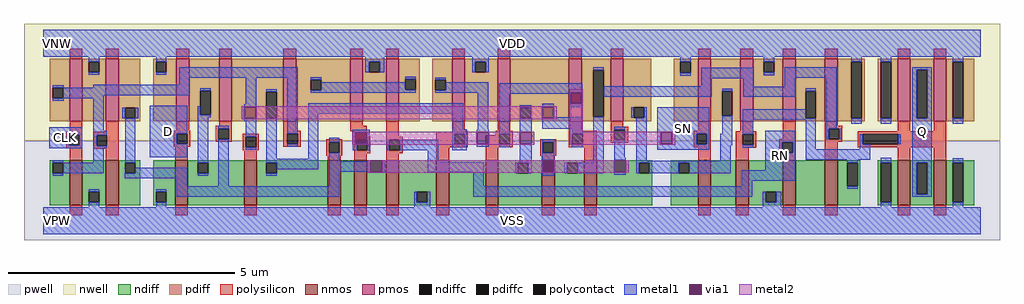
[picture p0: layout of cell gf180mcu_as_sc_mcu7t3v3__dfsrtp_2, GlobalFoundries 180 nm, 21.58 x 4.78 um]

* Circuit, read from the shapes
.subckt gf180mcu_as_sc_mcu7t3v3__dfsrtp_2 VDD VNW VPW VSS CLK Q RN SN D
XM1 VSS CLK n1 VPW nfet_03v3 w=1u l=0.28u
XM2 n2 n1 VSS VPW nfet_03v3 w=1u l=0.28u
XM3 n3 D VSS VPW nfet_03v3 w=1u l=0.28u
XM4 n4 n1 n3 VPW nfet_03v3 w=1u l=0.28u
XM5 n5 n2 n4 VPW nfet_03v3 w=1u l=0.28u
XM6 n6 n7 n5 VPW nfet_03v3 w=1u l=0.28u
XM7 VSS RN n6 VPW nfet_03v3 w=1u l=0.28u
XM8 n8 n4 VSS VPW nfet_03v3 w=1u l=0.28u
XM9 n7 SN n8 VPW nfet_03v3 w=1u l=0.28u
XM10 n9 n2 n7 VPW nfet_03v3 w=1u l=0.28u
XM11 n10 n1 n9 VPW nfet_03v3 w=1u l=0.28u
XM12 n11 SN n10 VPW nfet_03v3 w=1u l=0.28u
XM13 VSS n12 n11 VPW nfet_03v3 w=1u l=0.28u
XM14 n13 RN VSS VPW nfet_03v3 w=1u l=0.28u
XM15 n12 n9 n13 VPW nfet_03v3 w=1u l=0.28u
XM16 Q n12 VSS VPW nfet_03v3 w=1u l=0.28u m=2
XM17 VDD CLK n1 VNW pfet_03v3 w=1.38u l=0.28u
XM18 n2 n1 VDD VNW pfet_03v3 w=1.38u l=0.28u
XM19 n3 D VDD VNW pfet_03v3 w=1.38u l=0.285u
XM20 n4 n2 n3 VNW pfet_03v3 w=1.38u l=0.28u
XM21 n14 n1 n4 VNW pfet_03v3 w=1.38u l=0.285u
XM22 VDD n7 n14 VNW pfet_03v3 w=1.38u l=0.28u
XM23 n14 RN VDD VNW pfet_03v3 w=1.38u l=0.28u
XM24 VDD n4 n7 VNW pfet_03v3 w=1.38u l=0.28u
XM25 n7 SN VDD VNW pfet_03v3 w=1.38u l=0.28u
XM26 n9 n1 n7 VNW pfet_03v3 w=1.38u l=0.28u
XM27 n10 n2 n9 VNW pfet_03v3 w=1.38u l=0.28u
XM28 n10 SN VDD VNW pfet_03v3 w=1.38u l=0.28u
XM29 VDD n12 n10 VNW pfet_03v3 w=1.38u l=0.28u
XM30 n12 RN VDD VNW pfet_03v3 w=1.38u l=0.28u
XM31 VDD n9 n12 VNW pfet_03v3 w=1.38u l=0.28u
XM32 Q n12 VDD VNW pfet_03v3 w=1.38u l=0.28u m=2
.ends

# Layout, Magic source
magic
tech gf180mcuD
magscale 1 10
<< nwell >>
rect -86 354 4230 870
<< pwell >>
rect -86 -86 4230 354
<< nmos >>
rect 116 68 172 268
rect 276 68 332 268
rect 583 68 639 268
rect 887 68 943 268
rect 1258 68 1314 268
rect 1374 68 1430 268
rect 1516 68 1572 268
rect 1738 68 1794 268
rect 1956 68 2012 268
rect 2204 68 2260 268
rect 2391 68 2447 268
rect 2895 68 2951 268
rect 3062 68 3118 268
rect 3270 68 3326 268
rect 3456 68 3512 268
rect 3777 68 3833 268
rect 3937 68 3993 268
<< pmos >>
rect 116 440 172 716
rect 276 440 332 716
rect 588 440 645 716
rect 777 440 833 716
rect 1061 440 1118 716
rect 1356 440 1412 716
rect 1516 440 1572 716
rect 1807 440 1863 716
rect 2009 440 2065 716
rect 2324 440 2380 716
rect 2509 440 2565 716
rect 2895 440 2951 716
rect 3082 440 3138 716
rect 3270 440 3326 716
rect 3456 440 3512 716
rect 3777 440 3833 716
rect 3937 440 3993 716
<< ndiff >>
rect 28 255 116 268
rect 28 209 41 255
rect 87 209 116 255
rect 28 68 116 209
rect 172 127 276 268
rect 172 81 201 127
rect 247 81 276 127
rect 172 68 276 81
rect 332 255 429 268
rect 332 209 361 255
rect 407 209 429 255
rect 332 68 429 209
rect 485 127 583 268
rect 485 81 498 127
rect 544 81 583 127
rect 485 68 583 81
rect 639 255 887 268
rect 639 209 682 255
rect 728 209 887 255
rect 639 68 887 209
rect 943 255 1258 268
rect 943 209 986 255
rect 1032 209 1258 255
rect 943 68 1258 209
rect 1314 68 1374 268
rect 1430 68 1516 268
rect 1572 127 1738 268
rect 1572 81 1651 127
rect 1697 81 1738 127
rect 1572 68 1738 81
rect 1794 68 1956 268
rect 2012 255 2204 268
rect 2012 209 2098 255
rect 2144 209 2204 255
rect 2012 68 2204 209
rect 2260 255 2391 268
rect 2260 209 2316 255
rect 2362 209 2391 255
rect 2260 68 2391 209
rect 2447 255 2693 268
rect 2447 209 2634 255
rect 2680 209 2693 255
rect 2447 68 2693 209
rect 2773 255 2895 268
rect 2773 209 2809 255
rect 2855 209 2895 255
rect 2773 68 2895 209
rect 2951 68 3062 268
rect 3118 127 3270 268
rect 3118 81 3195 127
rect 3241 81 3270 127
rect 3118 68 3270 81
rect 3326 68 3456 268
rect 3512 255 3613 268
rect 3512 152 3554 255
rect 3600 152 3613 255
rect 3512 68 3613 152
rect 3689 255 3777 268
rect 3689 81 3702 255
rect 3748 81 3777 255
rect 3689 68 3777 81
rect 3833 255 3937 268
rect 3833 117 3862 255
rect 3908 117 3937 255
rect 3833 68 3937 117
rect 3993 255 4116 268
rect 3993 81 4022 255
rect 4068 81 4116 255
rect 3993 68 4116 81
<< pdiff >>
rect 28 587 116 716
rect 28 541 41 587
rect 87 541 116 587
rect 28 440 116 541
rect 172 703 276 716
rect 172 657 201 703
rect 247 657 276 703
rect 172 440 276 657
rect 332 499 429 716
rect 332 453 361 499
rect 407 453 429 499
rect 332 440 429 453
rect 485 703 588 716
rect 485 657 498 703
rect 544 657 588 703
rect 485 440 588 657
rect 645 574 777 716
rect 645 468 693 574
rect 739 468 777 574
rect 645 440 777 468
rect 833 569 1061 716
rect 833 453 986 569
rect 1032 453 1061 569
rect 833 440 1061 453
rect 1118 622 1356 716
rect 1118 576 1182 622
rect 1228 576 1356 622
rect 1118 440 1356 576
rect 1412 703 1516 716
rect 1412 657 1441 703
rect 1487 657 1516 703
rect 1412 440 1516 657
rect 1572 625 1663 716
rect 1572 579 1601 625
rect 1647 579 1663 625
rect 1572 440 1663 579
rect 1719 622 1807 716
rect 1719 576 1732 622
rect 1778 576 1807 622
rect 1719 440 1807 576
rect 1863 703 2009 716
rect 1863 657 1909 703
rect 1955 657 2009 703
rect 1863 440 2009 657
rect 2065 499 2324 716
rect 2065 453 2109 499
rect 2155 453 2324 499
rect 2065 440 2324 453
rect 2380 666 2509 716
rect 2380 460 2431 666
rect 2477 460 2509 666
rect 2380 440 2509 460
rect 2565 501 2688 716
rect 2565 455 2611 501
rect 2657 455 2688 501
rect 2565 440 2688 455
rect 2787 703 2895 716
rect 2787 653 2817 703
rect 2863 653 2895 703
rect 2787 440 2895 653
rect 2951 572 3082 716
rect 2951 463 3001 572
rect 3047 463 3082 572
rect 2951 440 3082 463
rect 3138 703 3270 716
rect 3138 656 3186 703
rect 3232 656 3270 703
rect 3138 440 3270 656
rect 3326 573 3456 716
rect 3326 453 3370 573
rect 3416 453 3456 573
rect 3326 440 3456 453
rect 3512 703 3631 716
rect 3512 453 3572 703
rect 3618 453 3631 703
rect 3512 440 3631 453
rect 3689 703 3777 716
rect 3689 453 3702 703
rect 3748 453 3777 703
rect 3689 440 3777 453
rect 3833 667 3937 716
rect 3833 453 3862 667
rect 3908 453 3937 667
rect 3833 440 3937 453
rect 3993 703 4116 716
rect 3993 453 4022 703
rect 4068 453 4116 703
rect 3993 440 4116 453
<< ndiffc >>
rect 41 209 87 255
rect 201 81 247 127
rect 361 209 407 255
rect 498 81 544 127
rect 682 209 728 255
rect 986 209 1032 255
rect 1651 81 1697 127
rect 2098 209 2144 255
rect 2316 209 2362 255
rect 2634 209 2680 255
rect 2809 209 2855 255
rect 3195 81 3241 127
rect 3554 152 3600 255
rect 3702 81 3748 255
rect 3862 117 3908 255
rect 4022 81 4068 255
<< pdiffc >>
rect 41 541 87 587
rect 201 657 247 703
rect 361 453 407 499
rect 498 657 544 703
rect 693 468 739 574
rect 986 453 1032 569
rect 1182 576 1228 622
rect 1441 657 1487 703
rect 1601 579 1647 625
rect 1732 576 1778 622
rect 1909 657 1955 703
rect 2109 453 2155 499
rect 2431 460 2477 666
rect 2611 455 2657 501
rect 2817 653 2863 703
rect 3001 463 3047 572
rect 3186 656 3232 703
rect 3370 453 3416 573
rect 3572 453 3618 703
rect 3702 453 3748 703
rect 3862 453 3908 667
rect 4022 453 4068 703
<< polysilicon >>
rect 116 716 172 760
rect 276 716 332 760
rect 588 716 645 760
rect 777 716 833 760
rect 1061 716 1118 760
rect 1356 716 1412 760
rect 1516 716 1572 760
rect 1807 716 1863 760
rect 2009 716 2065 760
rect 2324 716 2380 760
rect 2509 716 2565 760
rect 2895 716 2951 760
rect 3082 716 3138 760
rect 3270 716 3326 760
rect 3456 716 3512 760
rect 3777 716 3833 760
rect 3937 716 3993 760
rect 116 394 172 440
rect 100 379 172 394
rect 276 393 332 440
rect 588 398 645 440
rect 777 420 833 440
rect 761 407 833 420
rect 100 333 113 379
rect 159 333 172 379
rect 100 320 172 333
rect 116 268 172 320
rect 222 378 332 393
rect 222 332 235 378
rect 281 332 332 378
rect 222 319 332 332
rect 577 385 649 398
rect 577 339 590 385
rect 636 339 649 385
rect 761 361 774 407
rect 820 361 833 407
rect 1061 398 1118 440
rect 1356 419 1412 440
rect 1061 385 1137 398
rect 1356 395 1430 419
rect 761 348 833 361
rect 881 371 953 384
rect 577 326 649 339
rect 276 268 332 319
rect 583 268 639 326
rect 881 325 894 371
rect 940 325 953 371
rect 1061 339 1078 385
rect 1124 339 1137 385
rect 1374 371 1430 395
rect 1516 371 1572 440
rect 1807 397 1863 440
rect 2009 397 2065 440
rect 2324 397 2380 440
rect 2509 416 2565 440
rect 2509 403 2585 416
rect 1807 393 1877 397
rect 1738 384 1877 393
rect 1061 326 1137 339
rect 1250 347 1322 360
rect 881 312 953 325
rect 887 268 943 312
rect 1250 301 1263 347
rect 1309 301 1322 347
rect 1250 288 1322 301
rect 1374 358 1446 371
rect 1374 312 1387 358
rect 1433 312 1446 358
rect 1374 299 1446 312
rect 1516 358 1589 371
rect 1516 312 1530 358
rect 1576 312 1589 358
rect 1516 299 1589 312
rect 1738 338 1818 384
rect 1864 338 1877 384
rect 2000 384 2076 397
rect 2000 378 2015 384
rect 1738 325 1877 338
rect 1956 338 2015 378
rect 2061 338 2076 384
rect 2324 384 2447 397
rect 1956 325 2076 338
rect 2196 347 2268 360
rect 1258 268 1314 288
rect 1374 268 1430 299
rect 1516 268 1572 299
rect 1738 268 1794 325
rect 1956 268 2012 325
rect 2196 301 2209 347
rect 2255 301 2268 347
rect 2324 338 2339 384
rect 2385 338 2447 384
rect 2509 357 2524 403
rect 2570 357 2585 403
rect 2895 397 2951 440
rect 2509 344 2585 357
rect 2875 384 2951 397
rect 3082 395 3138 440
rect 2324 325 2447 338
rect 2875 338 2888 384
rect 2934 338 2951 384
rect 2875 325 2951 338
rect 2196 288 2268 301
rect 2204 268 2260 288
rect 2391 268 2447 325
rect 2895 268 2951 325
rect 3062 382 3153 395
rect 3062 336 3093 382
rect 3139 336 3153 382
rect 3270 360 3326 440
rect 3062 323 3153 336
rect 3254 347 3326 360
rect 3062 268 3118 323
rect 3254 301 3267 347
rect 3313 301 3326 347
rect 3254 288 3326 301
rect 3270 268 3326 288
rect 3456 420 3512 440
rect 3456 407 3532 420
rect 3456 361 3473 407
rect 3519 361 3532 407
rect 3777 396 3833 440
rect 3937 396 3993 440
rect 3456 348 3532 361
rect 3600 383 3993 396
rect 3456 268 3512 348
rect 3600 337 3624 383
rect 3780 337 3993 383
rect 3600 324 3993 337
rect 3777 268 3833 324
rect 3937 268 3993 324
rect 116 24 172 68
rect 276 24 332 68
rect 583 24 639 68
rect 887 24 943 68
rect 1258 24 1314 68
rect 1374 24 1430 68
rect 1516 24 1572 68
rect 1738 24 1794 68
rect 1956 24 2012 68
rect 2204 24 2260 68
rect 2391 24 2447 68
rect 2895 24 2951 68
rect 3062 24 3118 68
rect 3270 24 3326 68
rect 3456 24 3512 68
rect 3777 24 3833 68
rect 3937 24 3993 68
<< polycontact >>
rect 113 333 159 379
rect 235 332 281 378
rect 590 339 636 385
rect 774 361 820 407
rect 894 325 940 371
rect 1078 339 1124 385
rect 1263 301 1309 347
rect 1387 312 1433 358
rect 1530 312 1576 358
rect 1818 338 1864 384
rect 2015 338 2061 384
rect 2209 301 2255 347
rect 2339 338 2385 384
rect 2524 357 2570 403
rect 2888 338 2934 384
rect 3093 336 3139 382
rect 3267 301 3313 347
rect 3473 361 3519 407
rect 3624 337 3780 383
<< metal1 >>
rect 0 724 4144 844
rect 201 703 247 724
rect 201 646 247 657
rect 498 703 544 724
rect 1424 703 1508 724
rect 498 646 544 657
rect 600 632 1124 678
rect 1424 657 1441 703
rect 1487 657 1508 703
rect 1896 703 1969 724
rect 1896 657 1909 703
rect 1955 657 1969 703
rect 2817 703 2863 724
rect 2431 666 2477 678
rect 600 600 646 632
rect 41 587 89 599
rect 221 587 646 600
rect 87 554 646 587
rect 693 574 739 585
rect 87 541 267 554
rect 41 530 89 541
rect 25 379 172 412
rect 25 333 113 379
rect 159 333 172 379
rect 25 320 172 333
rect 221 397 267 541
rect 349 453 361 499
rect 407 453 419 499
rect 221 378 281 397
rect 221 332 235 378
rect 221 321 281 332
rect 41 255 87 266
rect 221 255 267 321
rect 87 209 267 255
rect 361 255 407 453
rect 469 385 636 507
rect 469 339 590 385
rect 469 280 636 339
rect 682 468 693 506
rect 894 515 940 632
rect 682 457 739 468
rect 888 503 940 515
rect 360 209 361 234
rect 682 255 728 457
rect 888 439 940 451
rect 407 209 636 234
rect 41 198 87 209
rect 360 188 636 209
rect 682 198 728 209
rect 774 407 820 420
rect 590 152 636 188
rect 774 152 820 361
rect 894 371 940 439
rect 894 314 940 325
rect 986 569 1032 580
rect 986 273 1032 453
rect 1078 385 1124 632
rect 1182 622 1228 634
rect 1601 625 1647 636
rect 1228 579 1601 611
rect 1228 576 1647 579
rect 1182 565 1647 576
rect 1732 622 1778 633
rect 1778 576 1966 611
rect 1732 565 1966 576
rect 1078 326 1124 339
rect 1170 473 1857 519
rect 1170 273 1216 473
rect 1811 405 1857 473
rect 1367 391 1444 403
rect 986 255 1216 273
rect 1032 227 1216 255
rect 1263 347 1309 367
rect 1367 339 1378 391
rect 1430 358 1444 391
rect 1807 384 1871 405
rect 1920 403 1966 565
rect 2015 568 2382 608
rect 2015 562 2330 568
rect 1367 312 1387 339
rect 1433 312 1444 358
rect 1519 312 1530 358
rect 1576 312 1746 358
rect 1807 338 1818 384
rect 1864 338 1871 384
rect 1807 312 1871 338
rect 1917 391 1969 403
rect 1917 327 1969 339
rect 2015 384 2061 562
rect 2382 516 2385 567
rect 2015 325 2061 338
rect 2107 499 2159 510
rect 2107 453 2109 499
rect 2155 453 2159 499
rect 2107 391 2159 453
rect 2205 504 2257 516
rect 2330 514 2385 516
rect 2330 504 2382 514
rect 3186 703 3232 724
rect 2817 640 2863 653
rect 2909 630 3140 676
rect 3572 703 3618 724
rect 3186 642 3232 656
rect 2909 594 2955 630
rect 2477 548 2955 594
rect 3094 593 3140 630
rect 3278 632 3508 678
rect 3278 593 3324 632
rect 3001 572 3047 584
rect 2257 452 2385 458
rect 2205 406 2385 452
rect 2339 384 2385 406
rect 1263 263 1309 301
rect 1434 263 1446 266
rect 986 198 1032 209
rect 1263 217 1446 263
rect 1263 152 1309 217
rect 1434 214 1446 217
rect 1498 214 1510 266
rect 1700 259 1746 312
rect 1700 213 1947 259
rect 2107 255 2159 339
rect 201 127 247 138
rect 201 60 247 81
rect 498 127 544 138
rect 590 106 1309 152
rect 1901 152 1947 213
rect 2087 209 2098 255
rect 2144 209 2159 255
rect 2206 347 2258 360
rect 2206 301 2209 347
rect 2255 301 2258 347
rect 2339 325 2385 338
rect 2206 266 2258 301
rect 2431 255 2477 460
rect 2600 455 2611 501
rect 2657 455 2668 501
rect 2206 198 2258 214
rect 2304 209 2316 255
rect 2362 209 2477 255
rect 2524 403 2570 416
rect 2524 278 2570 357
rect 2524 266 2576 278
rect 2524 202 2576 214
rect 2622 265 2668 455
rect 2715 390 2945 502
rect 2715 338 2729 390
rect 2781 384 2945 390
rect 3094 547 3324 593
rect 3370 573 3416 585
rect 3001 384 3047 463
rect 2781 338 2888 384
rect 2934 338 2945 384
rect 2715 313 2945 338
rect 2994 333 3047 384
rect 3093 453 3370 493
rect 3093 447 3416 453
rect 3093 382 3139 447
rect 2994 265 3040 333
rect 3093 323 3139 336
rect 3191 347 3324 398
rect 2622 255 3040 265
rect 2622 209 2634 255
rect 2680 209 2809 255
rect 2855 209 3040 255
rect 3191 301 3267 347
rect 3313 301 3324 347
rect 3191 223 3324 301
rect 3370 315 3416 447
rect 3462 407 3508 632
rect 3572 429 3618 453
rect 3702 703 3748 724
rect 4022 703 4068 724
rect 3702 429 3748 453
rect 3843 667 3929 678
rect 3843 453 3862 667
rect 3908 453 3929 667
rect 3462 361 3473 407
rect 3519 361 3530 407
rect 3610 337 3624 383
rect 3780 337 3791 383
rect 3610 315 3656 337
rect 3370 269 3656 315
rect 3087 176 3324 223
rect 3554 255 3600 269
rect 3087 152 3134 176
rect 498 60 544 81
rect 1639 81 1651 127
rect 1697 81 1710 127
rect 1901 106 3134 152
rect 3554 141 3600 152
rect 3702 255 3748 278
rect 1639 60 1710 81
rect 3180 81 3195 127
rect 3241 81 3263 127
rect 3180 60 3263 81
rect 3843 255 3929 453
rect 4022 429 4068 453
rect 3843 117 3862 255
rect 3908 117 3929 255
rect 3843 106 3929 117
rect 4022 255 4068 277
rect 3702 60 3748 81
rect 4022 60 4068 81
rect 0 -60 4144 60
<< via1 >>
rect 888 451 940 503
rect 1378 358 1430 391
rect 1378 339 1387 358
rect 1387 339 1430 358
rect 1917 339 1969 391
rect 2330 516 2382 568
rect 2205 452 2257 504
rect 2107 339 2159 391
rect 1446 214 1498 266
rect 2206 214 2258 266
rect 2524 214 2576 266
rect 2729 338 2781 390
<< metal2 >>
rect 2327 568 2385 580
rect 2327 516 2330 568
rect 2382 516 2385 568
rect 2327 512 2385 516
rect 876 504 2270 506
rect 876 503 2205 504
rect 876 451 888 503
rect 940 452 2205 503
rect 2257 452 2270 504
rect 940 451 2270 452
rect 876 449 2270 451
rect 1366 391 2171 393
rect 1366 339 1378 391
rect 1430 339 1917 391
rect 1969 339 2107 391
rect 2159 339 2171 391
rect 1366 336 2171 339
rect 2329 392 2385 512
rect 2329 390 2793 392
rect 2329 338 2729 390
rect 2781 338 2793 390
rect 2329 336 2793 338
rect 1434 266 2589 268
rect 1434 214 1446 266
rect 1498 214 2206 266
rect 2258 214 2524 266
rect 2576 214 2589 266
rect 1434 212 2589 214
rect 1434 211 1502 212
<< labels >>
flabel metal1 s 0 724 4144 844 0 FreeSans 400 0 0 0 VDD
port 1 nsew power bidirectional abutment
flabel metal1 s 0 -60 4144 60 0 FreeSans 400 0 0 0 VSS
port 4 nsew ground bidirectional abutment
flabel metal1 25 320 172 412 0 FreeSans 200 0 0 0 CLK
port 5 nsew clock input
flabel metal1 3843 106 3929 678 0 FreeSans 200 0 0 0 Q
port 7 nsew signal output
flabel nwell s 10 734 110 834 0 FreeSans 400 0 0 0 VNW
port 2 nsew power bidirectional
flabel pwell s 10 -50 110 50 0 FreeSans 400 0 0 0 VPW
port 3 nsew ground bidirectional
flabel metal1 s 3191 176 3324 398 0 FreeSans 416 0 0 0 RN
port 8 nsew
flabel metal1 s 2715 313 2945 502 0 FreeSans 416 0 0 0 SN
port 9 nsew
flabel metal1 s 469 280 636 507 0 FreeSans 416 0 0 0 D
port 10 nsew
<< properties >>
string FIXED_BBOX 0 0 4144 784
string LEFclass CORE
string LEFsite unithd
string LEFsymmetry X Y
string MASKHINTS_NPLUS -16 -46 4160 354
string MASKHINTS_PPLUS -16 354 4160 830
<< end >>
